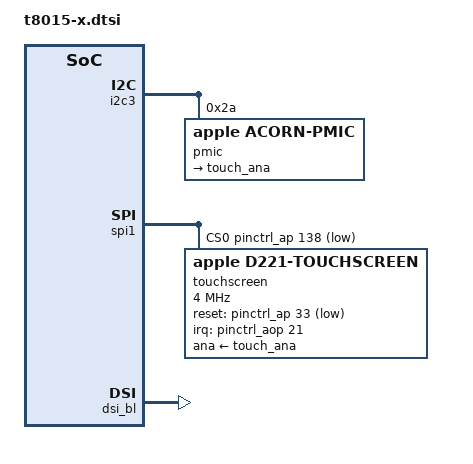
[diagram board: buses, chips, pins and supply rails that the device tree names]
// SPDX-License-Identifier: GPL-2.0+ OR MIT
/*
 * Apple iPhone X common device tree
 *
 * Copyright (c) 2022, Konrad Dybcio <konradybcio@kernel.org>
 */

#include "t8015.dtsi"
#include "t8015-common.dtsi"

/ {
	chassis-type = "handset";

	/* m1n1 copies the ADT's touch calibrations to this node. */
	aliases {
		touchscreen0 = &touchscreen;
	};
};

&apcie {
	iommu-map = <0x100 &dart_apcie3 0 0x0 0x80000000 0x0 0x3ffff000 1>;
	iommu-map-mask = <0xff00>;
	pinctrl-0 = <&wifi_clkreq>;
	pinctrl-names = "default";

	port03: pci@3,0 {
		device_type = "pci";
		reg = <0x1800 0x0 0x0 0x0 0x0>;
		bus-range = <1 1>;
		max-link-speed = <2>;
		apple,manual-availability-iommu = <&dart_apcie3 0>;
		reset-gpios = <&pinctrl_ap 167 GPIO_ACTIVE_LOW>;

		#address-cells = <3>;
		#size-cells = <2>;
		ranges;
	};
};

&pinctrl_ap {
	wifi_clkreq: wifi-clkreq-pins {
		pinmux = <APPLE_PINMUX(163, 1)>;
	};
};

&i2c3 {
	status = "okay";

	pmic@2a {
		compatible = "apple,acorn-pmic";
		reg = <0x2a>;
		#address-cells = <1>;
		#size-cells = <1>;

		touch_ana: regulator-touch-analog {
			compatible = "apple,acorn-touch-analog-regulator";
			regulator-name = "touch-analog";
		};
	};
};

/* The touch controller ("hid-transport,k1"), chip select GPIO 0x8a. */
&spi1 {
	cs-gpios = <&pinctrl_ap 138 GPIO_ACTIVE_LOW>;
	status = "okay";

	touchscreen: touchscreen@0 {
		compatible = "apple,d221-touchscreen";
		reg = <0>;
		spi-max-frequency = <4000000>;
		interrupts-extended = <&pinctrl_aop 21 IRQ_TYPE_LEVEL_LOW>;
		reset-gpios = <&pinctrl_ap 33 GPIO_ACTIVE_LOW>;
		ana-supply = <&touch_ana>;
		clocks = <&touchclk>;
		firmware-name = "apple/d221-touch.bin";
		touchscreen-size-x = <1125>;
		touchscreen-size-y = <2436>;
	};
};

/* The OLED panel's brightness, from the ADT's backlight node. */
&dsi_bl {
	max-brightness = <2047>;
	apple,min-dbv = <139>;
	default-brightness-level = <740>;
	status = "okay";
};
